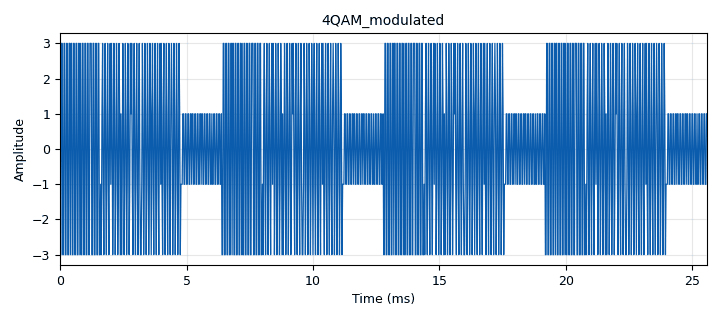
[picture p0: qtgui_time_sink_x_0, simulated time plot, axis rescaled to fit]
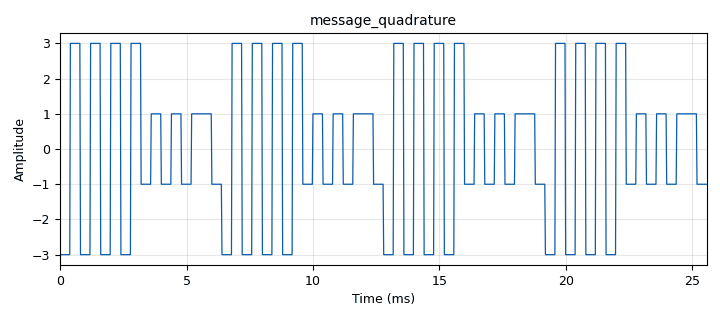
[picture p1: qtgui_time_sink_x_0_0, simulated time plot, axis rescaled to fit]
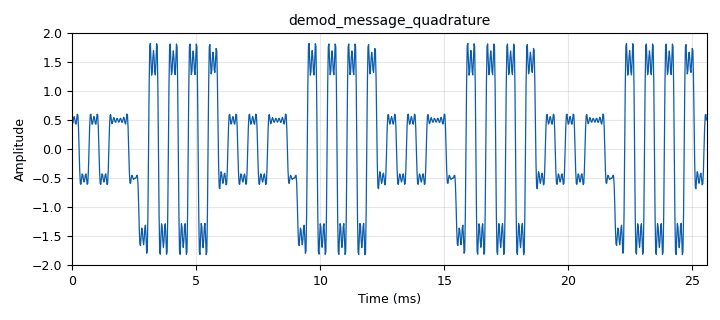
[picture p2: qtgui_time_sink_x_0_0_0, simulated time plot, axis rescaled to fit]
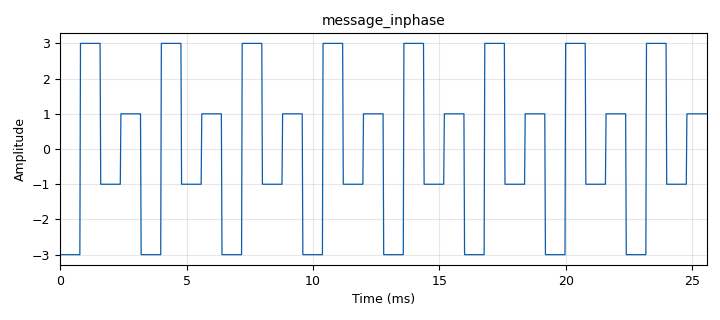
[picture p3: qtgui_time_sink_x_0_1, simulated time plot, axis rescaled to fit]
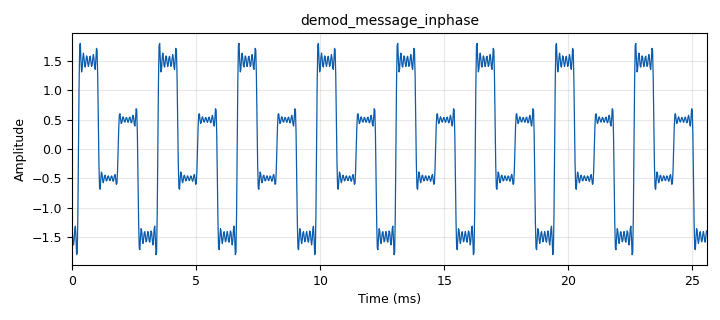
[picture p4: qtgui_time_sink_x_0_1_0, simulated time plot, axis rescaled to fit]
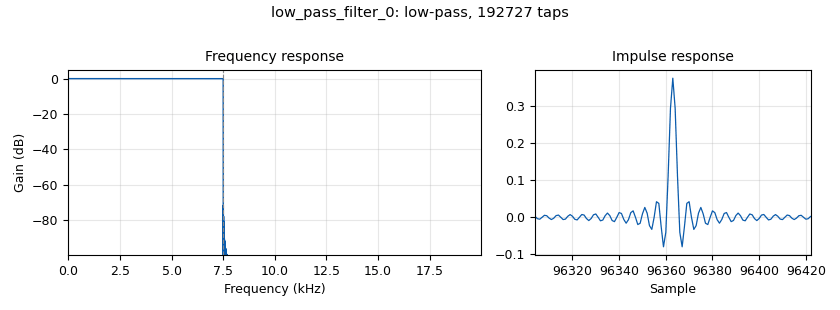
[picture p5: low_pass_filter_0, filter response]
options:
  parameters:
    author: Admin
    generate_options: qt_gui
    id: qam16
    output_language: python
    title: Not titled yet
  states: {}

blocks:
- name: samp_rate
  id: variable
  parameters:
    value: '40000'
  states: {}
- name: analog_sig_source_x_0
  id: analog_sig_source_x
  parameters:
    amp: '1'
    freq: '10000'
    offset: '0'
    phase: '0'
    samp_rate: samp_rate
    type: float
    waveform: analog.GR_COS_WAVE
  states: {}
- name: analog_sig_source_x_1
  id: analog_sig_source_x
  parameters:
    amp: '1'
    freq: '10000'
    offset: '0'
    phase: '0'
    samp_rate: samp_rate
    type: float
    waveform: analog.GR_SIN_WAVE
  states: {}
- name: blocks_add_xx_0
  id: blocks_add_xx
  parameters:
    type: float
  states: {}
- name: blocks_complex_to_float_0
  id: blocks_complex_to_float
  parameters: {}
  states: {}
- name: blocks_multiply_xx_0
  id: blocks_multiply_xx
  parameters:
    type: float
  states: {}
- name: blocks_multiply_xx_0_0
  id: blocks_multiply_xx
  parameters:
    type: float
  states: {}
- name: blocks_multiply_xx_0_1
  id: blocks_multiply_xx
  parameters:
    type: float
  states: {}
- name: blocks_multiply_xx_1
  id: blocks_multiply_xx
  parameters:
    type: float
  states: {}
- name: blocks_repeat_0
  id: blocks_repeat
  parameters:
    interp: '16'
    type: complex
  states: {}
- name: blocks_vector_source_x_0
  id: blocks_vector_source_x
  parameters:
    repeat: 'True'
    type: complex
    vector: '[-1-1j, -1+1j, 1+1j, 1-1j,-3-3j,-3+3j,3-3j,3+3j,-1-3j,-1+3j,1-3j,1+3j,-3-1j,-3+1j,3-1j,3+1j]'
  states: {}
- name: low_pass_filter_0
  id: low_pass_filter
  parameters:
    cutoff_freq: '7500'
    decim: '1'
    gain: '1'
    samp_rate: samp_rate
    type: fir_filter_fff
    width: '0.5'
    win: window.WIN_HAMMING
  states: {}
- name: low_pass_filter_1
  id: low_pass_filter
  parameters:
    cutoff_freq: '7500'
    decim: '1'
    gain: '1'
    samp_rate: samp_rate
    type: fir_filter_fff
    width: '0.5'
    win: window.WIN_HAMMING
  states: {}
- name: qtgui_time_sink_x_0
  id: qtgui_time_sink_x
  parameters:
    name: '"4QAM_modulated"'
    size: '1024'
    srate: samp_rate
    type: float
  states: {}
- name: qtgui_time_sink_x_0_0
  id: qtgui_time_sink_x
  parameters:
    name: '"message_quadrature"'
    size: '1024'
    srate: samp_rate
    type: float
  states: {}
- name: qtgui_time_sink_x_0_0_0
  id: qtgui_time_sink_x
  parameters:
    name: '"demod_message_quadrature"'
    size: '1024'
    srate: samp_rate
    type: float
  states: {}
- name: qtgui_time_sink_x_0_1
  id: qtgui_time_sink_x
  parameters:
    name: '"message_inphase"'
    size: '1024'
    srate: samp_rate
    type: float
  states: {}
- name: qtgui_time_sink_x_0_1_0
  id: qtgui_time_sink_x
  parameters:
    name: '"demod_message_inphase"'
    size: '1024'
    srate: samp_rate
    type: float
  states: {}

connections:
- [analog_sig_source_x_0, '0', blocks_multiply_xx_0, '0']
- [analog_sig_source_x_0, '0', blocks_multiply_xx_0_0, '0']
- [analog_sig_source_x_1, '0', blocks_multiply_xx_0_1, '1']
- [analog_sig_source_x_1, '0', blocks_multiply_xx_1, '1']
- [blocks_add_xx_0, '0', blocks_multiply_xx_0_0, '1']
- [blocks_add_xx_0, '0', blocks_multiply_xx_0_1, '0']
- [blocks_add_xx_0, '0', qtgui_time_sink_x_0, '0']
- [blocks_complex_to_float_0, '0', blocks_multiply_xx_0, '1']
- [blocks_complex_to_float_0, '0', qtgui_time_sink_x_0_1, '0']
- [blocks_complex_to_float_0, '1', blocks_multiply_xx_1, '0']
- [blocks_complex_to_float_0, '1', qtgui_time_sink_x_0_0, '0']
- [blocks_multiply_xx_0, '0', blocks_add_xx_0, '0']
- [blocks_multiply_xx_0_0, '0', low_pass_filter_0, '0']
- [blocks_multiply_xx_0_1, '0', low_pass_filter_1, '0']
- [blocks_multiply_xx_1, '0', blocks_add_xx_0, '1']
- [blocks_repeat_0, '0', blocks_complex_to_float_0, '0']
- [blocks_vector_source_x_0, '0', blocks_repeat_0, '0']
- [low_pass_filter_0, '0', qtgui_time_sink_x_0_1_0, '0']
- [low_pass_filter_1, '0', qtgui_time_sink_x_0_0_0, '0']

metadata:
  file_format: 1
  grc_version: 3.10.9.2
